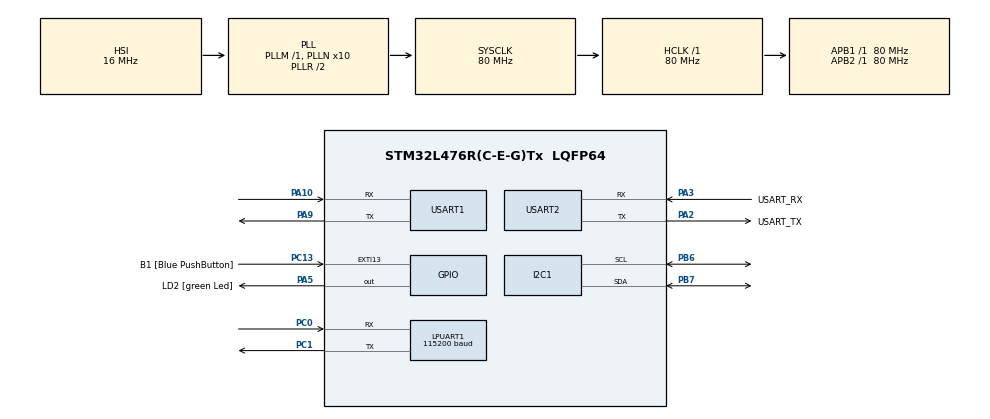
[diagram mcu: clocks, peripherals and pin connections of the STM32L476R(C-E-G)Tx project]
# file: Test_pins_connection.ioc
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LPUART1.BaudRate=115200
LPUART1.WordLength=UART_WORDLENGTH_8B
Mcu.Family=STM32L4
Mcu.Name=STM32L476R(C-E-G)Tx
Mcu.Package=LQFP64
NVIC.PriorityGroup=NVIC_PRIORITYGROUP_4
PA10.Mode=Asynchronous
PA10.Signal=USART1_RX
PA13\ (JTMS-SWDIO).GPIO_Label=TMS
PA13\ (JTMS-SWDIO).Mode=Serial_Wire
PA13\ (JTMS-SWDIO).Signal=SYS_JTMS-SWDIO
PA14\ (JTCK-SWCLK).GPIO_Label=TCK
PA14\ (JTCK-SWCLK).Mode=Serial_Wire
PA14\ (JTCK-SWCLK).Signal=SYS_JTCK-SWCLK
PA2.GPIO_Label=USART_TX
PA2.GPIO_Mode=GPIO_MODE_AF_PP
PA2.GPIO_PuPd=GPIO_NOPULL
PA2.GPIO_Speed=GPIO_SPEED_FREQ_VERY_HIGH
PA2.Mode=Asynchronous
PA2.Signal=USART2_TX
PA3.GPIO_Label=USART_RX
PA3.GPIO_Mode=GPIO_MODE_AF_PP
PA3.GPIO_PuPd=GPIO_NOPULL
PA3.GPIO_Speed=GPIO_SPEED_FREQ_VERY_HIGH
PA3.Mode=Asynchronous
PA3.Signal=USART2_RX
PA5.GPIO_Label=LD2 [green Led]
PA5.GPIO_ModeDefaultOutputPP=GPIO_MODE_OUTPUT_PP
PA5.GPIO_PuPd=GPIO_NOPULL
PA5.GPIO_Speed=GPIO_SPEED_FREQ_LOW
PA5.Signal=GPIO_Output
PA9.Mode=Asynchronous
PA9.Signal=USART1_TX
PB3\ (JTDO-TRACESWO).GPIO_Label=SWO
PB3\ (JTDO-TRACESWO).Signal=SYS_JTDO-SWO
PB6.Mode=I2C
PB6.Signal=I2C1_SCL
PB7.Mode=I2C
PB7.Signal=I2C1_SDA
PC0.Mode=Asynchronous
PC0.Signal=LPUART1_RX
PC1.Mode=Asynchronous
PC1.Signal=LPUART1_TX
PC13.GPIO_Label=B1 [Blue PushButton]
PC13.GPIO_ModeDefaultEXTI=GPIO_MODE_IT_FALLING
PC13.GPIO_PuPd=GPIO_NOPULL
PC13.Signal=GPXTI13
PC14-OSC32_IN\ (PC14).Mode=LSE-External-Oscillator
PC14-OSC32_IN\ (PC14).Signal=RCC_OSC32_IN
PC15-OSC32_OUT\ (PC15).Mode=LSE-External-Oscillator
PC15-OSC32_OUT\ (PC15).Signal=RCC_OSC32_OUT
PH0-OSC_IN\ (PH0).Signal=RCC_OSC_IN
PH1-OSC_OUT\ (PH1).Signal=RCC_OSC_OUT
ProjectManager.HeapSize=0x200
ProjectManager.StackSize=0x400
ProjectManager.TargetToolchain=TrueSTUDIO
RCC.ADCFreq_Value=64000000
RCC.AHBFreq_Value=80000000
RCC.APB1Freq_Value=80000000
RCC.APB1TimFreq_Value=80000000
RCC.APB2Freq_Value=80000000
RCC.APB2TimFreq_Value=80000000
RCC.CortexFreq_Value=80000000
RCC.HCLKFreq_Value=80000000
RCC.HSE_VALUE=8000000
RCC.HSI_VALUE=16000000
RCC.MSI_VALUE=4000000
RCC.PLLN=10
RCC.PLLSourceVirtual=RCC_PLLSOURCE_HSI
RCC.PREFETCH_ENABLE=1
RCC.SYSCLKFreq_VALUE=80000000
RCC.SYSCLKSource=RCC_SYSCLKSOURCE_PLLCLK
RCC.USBFreq_Value=64000000
RCC.VCOOutputFreq_Value=160000000
USART1.VirtualMode-Asynchronous=VM_ASYNC
USART2.VirtualMode-Asynchronous=VM_ASYNC
board=NUCLEO-L476RG

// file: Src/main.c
/* USER CODE BEGIN Header */
/**
  ******************************************************************************
  * @file           : main.c
  * @brief          : Main program body
  ******************************************************************************
  * @attention
  *
  * <h2><center>&copy; Copyright (c) 2019 STMicroelectronics.
  * All rights reserved.</center></h2>
  *
  * This software component is licensed by ST under BSD 3-Clause license,
  * the "License"; You may not use this file except in compliance with the
  * License. You may obtain a copy of the License at:
  *                        opensource.org/licenses/BSD-3-Clause
  *
  ******************************************************************************
  */
/* USER CODE END Header */

#include "main.h"
#include "i2c.h"
#include "usart.h"
#include "gpio.h"
#include "gps.h"
#include "string.h"
#include "lora_fonction.h"
#include "I2C_stack.h"

void SystemClock_Config(void);

int main(void)
{

  /* MCU Configuration--------------------------------------------------------*/

  /* Reset of all peripherals, Initializes the Flash interface and the Systick. */
  HAL_Init();

  /* Configure the system clock */
  SystemClock_Config();

  /* Initialize all configured peripherals */
  MX_GPIO_Init();
  MX_I2C1_Init();
  MX_LPUART1_UART_Init();
  MX_USART2_UART_Init();
  MX_USART1_UART_Init();
  /* USER CODE BEGIN 2 */

  TEMPandHUM_init();
  PRES_init();
  HAL_Delay(100);

  //*****************************INIT LORA****************************/

  LORA_AT_SET("AT+ATZ");
  HAL_UART_DeInit(&hlpuart1);
  HAL_UART_Init(&hlpuart1);

  LORA_AT_SET("AT+APPEUI=70b3d57ed0014d9e");//APPEUI=900dcafe00000001");//last = 1
  HAL_UART_DeInit(&hlpuart1);
  HAL_UART_Init(&hlpuart1);

  LORA_AT_SET("AT+ASK=9a2e35347a2da3c76f583e31db2fadab");
   HAL_UART_DeInit(&hlpuart1);
   HAL_UART_Init(&hlpuart1);

   LORA_AT_SET("AT+NSK=1a47ad204af7bba26a11acd46a43d5c7");
    HAL_UART_DeInit(&hlpuart1);
    HAL_UART_Init(&hlpuart1);

   LORA_AT_SET("AT+DC=0");
   HAL_UART_DeInit(&hlpuart1);
   HAL_UART_Init(&hlpuart1);

   LORA_AT_SET("AT+ADDR=26011a95");
   HAL_UART_DeInit(&hlpuart1);
   HAL_UART_Init(&hlpuart1);

  LORA_AT_JOIN_SET(0);
  HAL_UART_DeInit(&hlpuart1);
  HAL_UART_Init(&hlpuart1);

  //*****************************END INIT LORA****************************/

  //*****************************GET SENSORS DATA****************************//

  get_TEMP();
  get_HUM();
  get_PRES();

  //*****************************END GET SENSORS DATA****************************/

  //*****************************GET GPS DATA****************************//

 // MX_USART1_UART_Init();
  uint32_t GPS_COORD[3];
  //GPS_GETPOS(GPS_COORD);

  //*****************************END GET GPS DATA****************************//

  //*****************************SEND THROUGH LORA****************************//

  char buff_lon[20];
  char buff_lat[20];
  char buff_alt[20];
  //LORA_AT_SEND(CONV_CHAR32(GPS_COORD[0],buff_lon),CONV_CHAR32(GPS_COORD[1],buff_lat),CONV_CHAR32(GPS_COORD[2],buff_alt));

  //*****************************END SEND THROUGH LORA****************************//

  HAL_UART_DeInit(&hlpuart1);
  HAL_UART_Init(&hlpuart1);

  /* USER CODE END 2 */

  /* Infinite loop */
    while (1)
    {
    	HAL_GPIO_TogglePin(LD2_GPIO_Port, LD2_Pin);
    	GPS_GETPOS(GPS_COORD);
    	LORA_AT_SEND(CONV_CHAR32(GPS_COORD[0],buff_lon),CONV_CHAR32(GPS_COORD[1],buff_lat),CONV_CHAR32(GPS_COORD[2],buff_alt));

          	HAL_Delay(7000);

    }
}

void SystemClock_Config(void)
{
  RCC_OscInitTypeDef RCC_OscInitStruct = {0};
  RCC_ClkInitTypeDef RCC_ClkInitStruct = {0};
  RCC_PeriphCLKInitTypeDef PeriphClkInit = {0};

  /** Initializes the CPU, AHB and APB busses clocks
  */
  RCC_OscInitStruct.OscillatorType = RCC_OSCILLATORTYPE_HSI;
  RCC_OscInitStruct.HSIState = RCC_HSI_ON;
  RCC_OscInitStruct.HSICalibrationValue = RCC_HSICALIBRATION_DEFAULT;
  RCC_OscInitStruct.PLL.PLLState = RCC_PLL_ON;
  RCC_OscInitStruct.PLL.PLLSource = RCC_PLLSOURCE_HSI;
  RCC_OscInitStruct.PLL.PLLM = 1;
  RCC_OscInitStruct.PLL.PLLN = 10;
  RCC_OscInitStruct.PLL.PLLP = RCC_PLLP_DIV7;
  RCC_OscInitStruct.PLL.PLLQ = RCC_PLLQ_DIV2;
  RCC_OscInitStruct.PLL.PLLR = RCC_PLLR_DIV2;
  if (HAL_RCC_OscConfig(&RCC_OscInitStruct) != HAL_OK)
  {
    Error_Handler();
  }
  /** Initializes the CPU, AHB and APB busses clocks
  */
  RCC_ClkInitStruct.ClockType = RCC_CLOCKTYPE_HCLK|RCC_CLOCKTYPE_SYSCLK
                              |RCC_CLOCKTYPE_PCLK1|RCC_CLOCKTYPE_PCLK2;
  RCC_ClkInitStruct.SYSCLKSource = RCC_SYSCLKSOURCE_PLLCLK;
  RCC_ClkInitStruct.AHBCLKDivider = RCC_SYSCLK_DIV1;
  RCC_ClkInitStruct.APB1CLKDivider = RCC_HCLK_DIV1;
  RCC_ClkInitStruct.APB2CLKDivider = RCC_HCLK_DIV1;

  if (HAL_RCC_ClockConfig(&RCC_ClkInitStruct, FLASH_LATENCY_4) != HAL_OK)
  {
    Error_Handler();
  }
  PeriphClkInit.PeriphClockSelection = RCC_PERIPHCLK_USART1|RCC_PERIPHCLK_USART2
                              |RCC_PERIPHCLK_LPUART1|RCC_PERIPHCLK_I2C1;
  PeriphClkInit.Usart1ClockSelection = RCC_USART1CLKSOURCE_PCLK2;
  PeriphClkInit.Usart2ClockSelection = RCC_USART2CLKSOURCE_PCLK1;
  PeriphClkInit.Lpuart1ClockSelection = RCC_LPUART1CLKSOURCE_PCLK1;
  PeriphClkInit.I2c1ClockSelection = RCC_I2C1CLKSOURCE_PCLK1;
  if (HAL_RCCEx_PeriphCLKConfig(&PeriphClkInit) != HAL_OK)
  {
    Error_Handler();
  }
  /** Configure the main internal regulator output voltage
  */
  if (HAL_PWREx_ControlVoltageScaling(PWR_REGULATOR_VOLTAGE_SCALE1) != HAL_OK)
  {
    Error_Handler();
  }
}

void Error_Handler(void)
{
}

/************************ (C) COPYRIGHT STMicroelectronics *****END OF FILE****/
